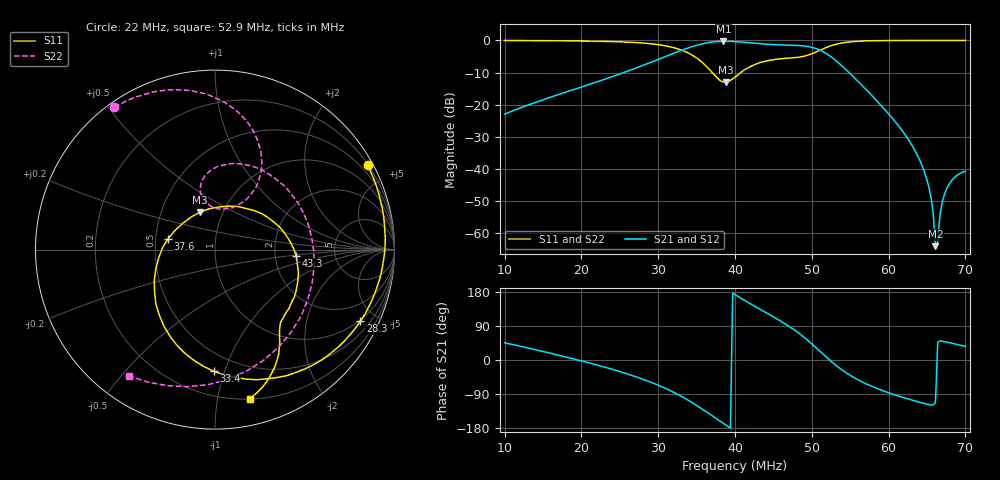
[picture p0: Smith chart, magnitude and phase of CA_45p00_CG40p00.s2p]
#  HZ  S  RI  R  50.00
! Rohde & Schwarz ZVT8 8Ports - Version 4.11 - 1300.0000k08 SN: 100242
! Date: 2026-07-31 14:58:00
! Measurements: S11 S21 S12 S22
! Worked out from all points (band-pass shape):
!   201 points, 10 MHz to 70 MHz, reference 50 ohm
!   highest |S21| = -0.27 dB at 38.5 MHz (marker M1); lowest = -64.0 dB at 66.1 MHz (marker M2)
!   |S21| within 3 dB of the highest: 32.79 MHz to 51.27 MHz (18.47 MHz wide, 43.9 % of centre)
!   lowest |S11| = -13.0 dB at 38.8 MHz (marker M3), VSWR 1.58, Z = 38.9 + j17 ohm
!   |S11| at or under -10 dB: 37.03 MHz to 40.74 MHz (3.718 MHz wide, 9.56 % of centre)
!   |S22| runs from -12.9 to 0.0 dB; largest |S21 - S12| = 0.004
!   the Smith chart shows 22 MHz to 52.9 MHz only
!   S11 on the Smith chart (normalised r, x): 22 MHz: 0.23, +3.88; 28.3 MHz: 0.94, -4.08; 33.4 MHz: 0.37, -0.92; 37.6 MHz: 0.58, +0.08; 43.3 MHz: 2.64, -0.23; 52.9 MHz: 0.20, -1.24
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1e7  -0.4076 0.9093  0.0498 0.0509  0.0498 0.0509  -0.92 0.3822
1.54e7  0.2174 0.9644  0.1154 0.0439  0.1155 0.0435  -0.8037 0.5784
2.02e7  0.7188 0.6628  0.1912 -0.0113  0.1904 -0.0112  -0.6411 0.7382
2.2e7  0.8512 0.4686  0.2197 -0.0512  0.2197 -0.0509  -0.5611 0.7927
2.83e7  0.8096 -0.3999  0.2537 -0.3349  0.2531 -0.3358  -0.1705 0.8886
3.01e7  0.598 -0.6123  0.1971 -0.4723  0.1982 -0.4719  -0.0218 0.8561
3.34e7  -0.00634 -0.6781  -0.1288 -0.7174  -0.1269 -0.7156  0.2228 0.6419
3.76e7  -0.2613 0.0609  -0.8681 -0.4027  -0.8685 -0.4028  0.1205 0.2448
3.85e7  -0.1314 0.1827  -0.9466 -0.2114  -0.9459 -0.2086  0.0442 0.2259
3.88e7  -0.085 0.2075  -0.959 -0.1408  -0.9582 -0.1424  0.0199 0.2262
4e7  0.1217 0.2408  -0.9495 0.122  -0.9484 0.1227  -0.054 0.268
4.33e7  0.4523 -0.0344  -0.6078 0.6442  -0.6082 0.6455  -0.00537 0.4527
4.69e7  0.4007 -0.3437  -0.0101 0.8449  -0.00973 0.8427  0.3934 0.3489
5.02e7  0.3606 -0.52  0.5966 0.4837  0.5957 0.4847  0.4235 -0.461
5.29e7  0.1933 -0.8317  0.5044 -0.0914  0.5033 -0.0904  -0.4774 -0.7037
5.56e7  -0.2376 -0.9327  0.1743 -0.1913  0.174 -0.1904  -0.9489 -0.1386
6.01e7  -0.7879 -0.6048  0.00375 -0.0697  0.00366 -0.0696  -0.8387 0.5314
6.46e7  -0.9938 -0.0745  -0.00392 -0.00863  -0.00394 -0.00863  -0.5642 0.8198
6.55e7  -0.996 0.0345  -0.00179 -0.00326  -0.00178 -0.00328  -0.5103 0.855
6.61e7  -0.9894 0.1084  -0.000235 -0.000583  -0.000261 -0.000609  -0.4737 0.8765
6.73e7  -0.9639 0.2507  0.00272 0.00307  0.00271 0.00305  -0.4048 0.9108
7e7  -0.8348 0.5445  0.00746 0.0054  0.0075 0.00535  -0.2525 0.9643
